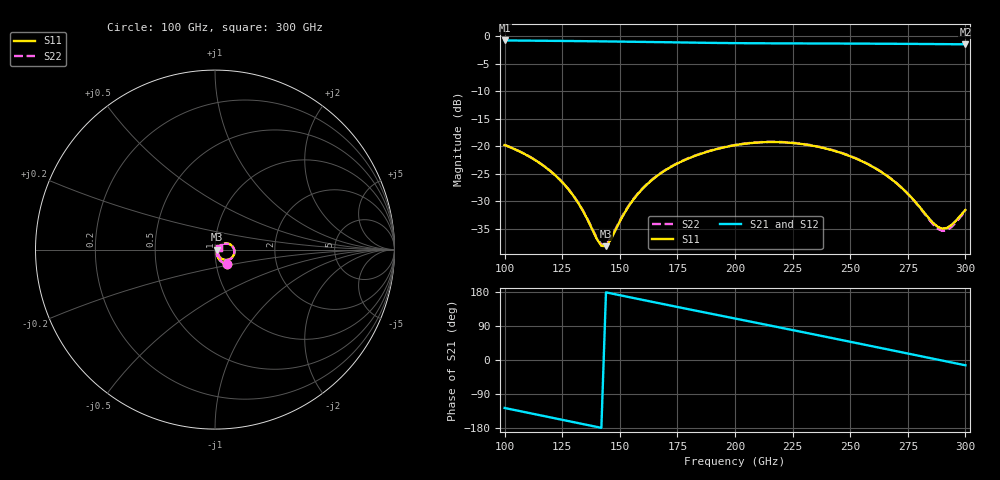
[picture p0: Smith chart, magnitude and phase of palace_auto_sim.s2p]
#  GHZ S DB R 50
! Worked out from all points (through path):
!   101 points, 100 GHz to 300 GHz, reference 50 ohm
!   highest |S21| = -0.81 dB at 100 GHz (marker M1); lowest = -1.5 dB at 300 GHz (marker M2)
!   group delay of S21, straight-line fit = 3.43 ps
!   lowest |S11| = -38.1 dB at 144 GHz (marker M3), VSWR 1.03, Z = 51.3 - j0.132 ohm
!   |S11| at or under -10 dB: start of sweep to end of sweep
!   |S22| runs from -37.8 to -19.2 dB; largest |S21 - S12| = 1.5e-14
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100  -19.78 -49.4  -0.81 -126.6  -0.81 -126.6  -19.76 -49.9
110  -21.71 -59.1  -0.85 -139.1  -0.85 -139.1  -21.68 -59.6
120  -24.55 -67.2  -0.88 -151.6  -0.88 -151.6  -24.53 -67.7
128  -27.96 -70.4  -0.91 -161.6  -0.91 -161.6  -27.93 -70.8
134  -31.71 -66.9  -0.94 -169.1  -0.94 -169.1  -31.66 -67.1
140  -36.79 -44.2  -0.97 -176.6  -0.97 -176.6  -36.62 -44.1
142  -38.05 -26.7  -0.98 -179.1  -0.98 -179.1  -37.80 -26.9
144  -38.12 -5.9  -0.99 178.5  -0.99 178.5  -37.84 -6.8
156  -29.61 38.8  -1.05 163.5  -1.05 163.5  -29.51 37.2
162  -26.84 38.4  -1.09 156.1  -1.09 156.1  -26.77 36.8
168  -24.84 35.2  -1.12 148.6  -1.12 148.6  -24.78 33.6
184  -21.53 22.5  -1.22 128.9  -1.22 128.9  -21.49 20.9
200  -19.81 7.2  -1.30 109.5  -1.30 109.5  -19.77 5.5
218  -19.24 -11.9  -1.34 87.5  -1.34 87.5  -19.20 -13.8
234  -19.93 -28.9  -1.36 67.9  -1.36 67.9  -19.88 -31.0
252  -22.15 -46.2  -1.38 45.7  -1.38 45.7  -22.10 -48.6
268  -26.00 -56.7  -1.42 25.8  -1.42 25.8  -25.97 -59.6
276  -29.05 -56.2  -1.44 15.9  -1.44 15.9  -29.06 -59.6
286  -33.91 -35.4  -1.46 3.4  -1.46 3.4  -34.18 -39.2
290  -34.95 -15.2  -1.48 -1.6  -1.48 -1.6  -35.35 -18.1
294  -34.27 5.8  -1.49 -6.5  -1.49 -6.5  -34.63 4.2
300  -31.54 24.2  -1.51 -14.0  -1.51 -14.0  -31.73 23.2
